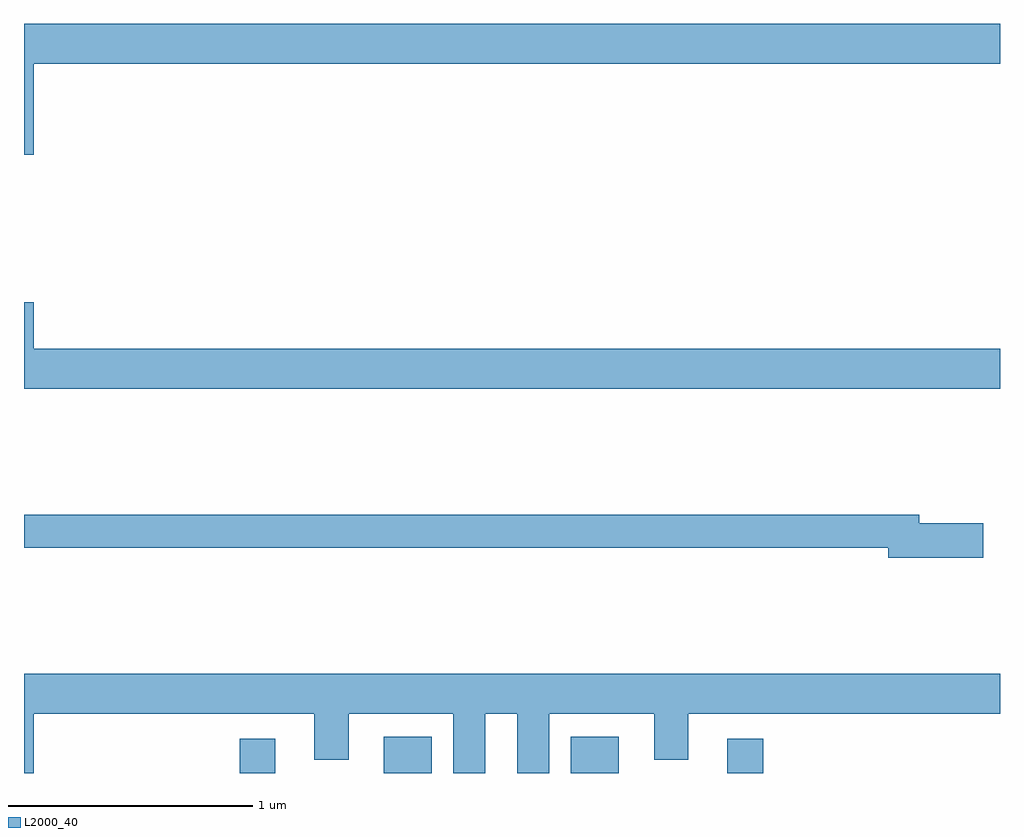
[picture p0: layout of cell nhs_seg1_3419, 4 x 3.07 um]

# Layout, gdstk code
import gdstk
lib = gdstk.Library(unit=1e-6, precision=1e-09)
def R(c, l, rs):  # rectangles x0, y0, x1, y1
    for r in rs: c.add(gdstk.rectangle(r[:2], r[2:], *l))
def P(c, l, *ps):  # polygons
    for p in ps: c.add(gdstk.Polygon(p, *l))
L2000_40 = (2000, 40)

nhs_seg1_3419 = lib.new_cell('nhs_seg1_3419')
R(nhs_seg1_3419, L2000_40, [(297.884,506.199,298.03,506.341), (298.475,506.199,298.671,506.35), (299.241,506.199,299.437,506.35), (299.882,506.199,300.029,506.341)])
P(nhs_seg1_3419, L2000_40, [(297.04,509.108),(301,509.108),(301,509.272),(297,509.272),(297,508.734),(297.04,508.734)],
  [(301,507.94),(297.04,507.94),(297.04,508.129),(297,508.129),(297,507.776),(301,507.776)],
  [(300.931,507.224),(300.67,507.224),(300.67,507.26),(297,507.26),(297,507.124),(300.542,507.124),(300.542,507.082),(300.931,507.082)],
  [(297.04,506.444),(298.19,506.444),(298.19,506.254),(298.33,506.254),(298.33,506.444),(298.76,506.444),(298.76,506.199),(298.891,506.199),(298.891,506.444),(299.021,506.444),(299.021,506.199),(299.152,506.199),(299.152,506.444),(299.582,506.444),(299.582,506.254),(299.722,506.254),(299.722,506.444),(301,506.444),(301,506.608),(297,506.608),(297,506.199),(297.04,506.199)])

lib.write_gds('nhs_seg1_3419.gds')
